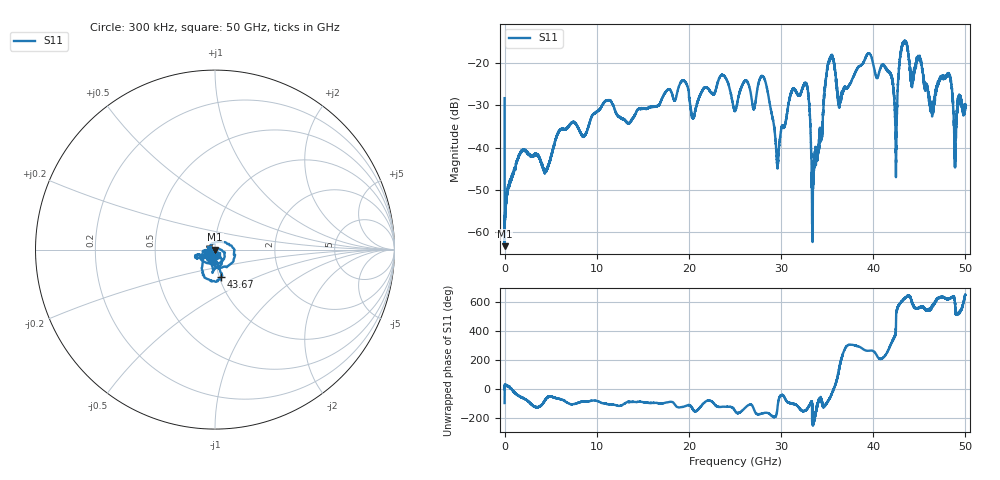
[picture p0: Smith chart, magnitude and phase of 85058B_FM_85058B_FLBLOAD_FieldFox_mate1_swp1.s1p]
!Created with skrf (http://scikit-rf.org).
# Hz S RI R 50.0
!freq ReS11 ImS11
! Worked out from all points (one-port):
!   10001 points, 300 kHz to 50 GHz, reference 50 ohm
!   lowest |S11| = -63.3 dB at 5.3 MHz (marker M1), VSWR 1.00, Z = 50.1 - j0.0344 ohm
!   |S11| at or under -10 dB: start of sweep to end of sweep
!   S11 on the Smith chart (normalised r, x): 300 kHz: 0.99, -0.08; 43.67 GHz: 1.02, -0.32; 50 GHz: 1.02, -0.06
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300000  -0.00541 -0.0381
5299970  0.000592 -0.000343
2.552985e8  0.00277 0.00113
1.790289e9  0.00489 -0.00755
4.455273e9  0.00178 -0.00499
6.250262e9  0.00438 -0.0162
1.250022e10  -0.0105 -0.0205
1.875019e10  -0.027 -0.037
2.047518e10  -0.0185 -0.0123
2.367016e10  -0.0399 -0.06
2.500015e10  -0.0239 -0.0125
2.805513e10  -0.0672 -0.0137
2.963512e10  -0.00266 -0.00547
3.125011e10  -0.0117 -0.0479
3.27851e10  -0.0433 -0.0342
3.35401e10  -0.00369 0.00449
3.527009e10  0.047 -0.1039
3.750008e10  0.0337 -0.0457
3.959006e10  -0.0132 -0.1289
4.184505e10  0.0365 -0.0667
4.242005e10  0.0128 0.00791
4.303504e10  -0.0684 -0.1232
4.367004e10  0.0333 -0.1535
4.375004e10  0.0393 -0.1315
4.631502e10  -0.0329 -0.0116
4.808501e10  -0.0103 -0.0723
4.887501e10  -0.00573 -0.00588
5e10  0.0112 -0.0294
